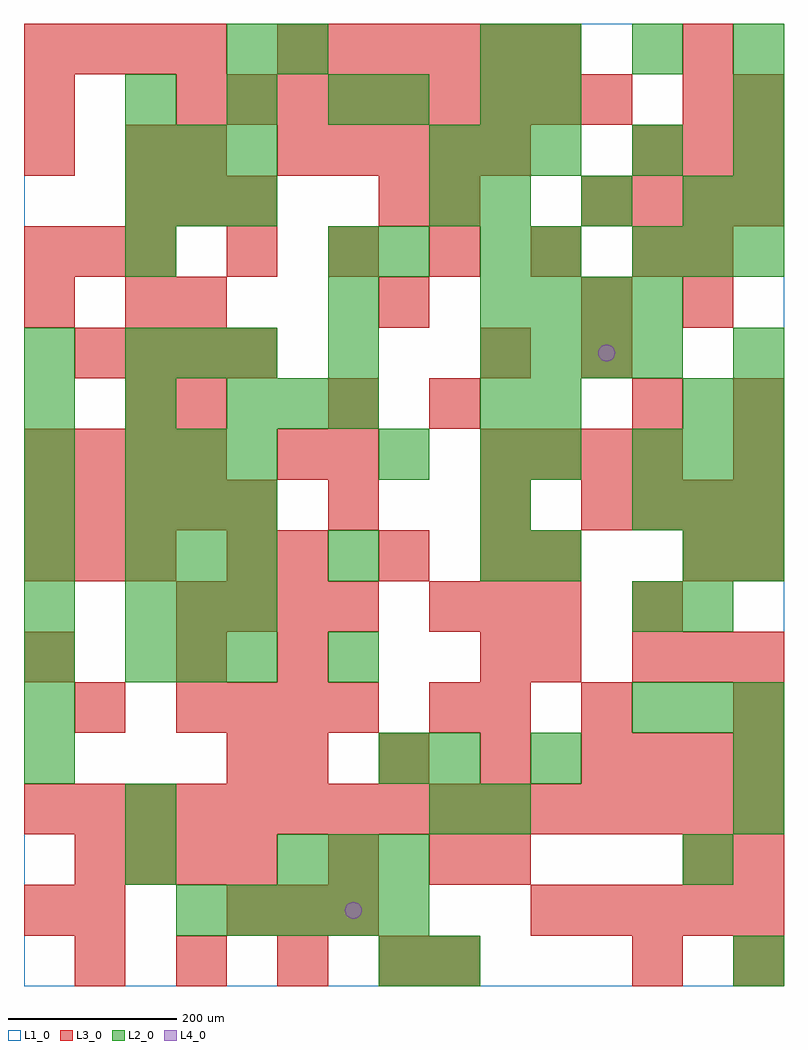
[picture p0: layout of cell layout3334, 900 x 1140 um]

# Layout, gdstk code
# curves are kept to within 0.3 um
import gdstk
lib = gdstk.Library(unit=1e-6, precision=1e-09)
def R(c, l, rs):  # rectangles x0, y0, x1, y1
    for r in rs: c.add(gdstk.rectangle(r[:2], r[2:], *l))
def A(c, l, x, y, w, h, nx, ny, dx, dy):  # array of equal rectangles
    R(c, l, [(x+i*dx, y+j*dy, x+i*dx+w, y+j*dy+h) for i in range(nx) for j in range(ny)])
def P(c, l, *ps):  # polygons
    for p in ps: c.add(gdstk.Polygon(p, *l))
L1_0 = (1, 0)
L2_0 = (2, 0)
L3_0 = (3, 0)
L4_0 = (4, 0)

layout3334 = lib.new_cell('layout3334')
R(layout3334, L1_0, [(0,0,900,1140)])
A(layout3334, L2_0, 180, 60, 60, 60, 5, 1, 60, 0)
A(layout3334, L2_0, 300, 120, 60, 60, 3, 1, 60, 0)
A(layout3334, L2_0, 0, 240, 60, 60, 1, 7, 0, 60)
A(layout3334, L2_0, 720, 300, 60, 60, 3, 2, 60, 240)
A(layout3334, L2_0, 120, 360, 60, 60, 3, 5, 60, 60)
A(layout3334, L2_0, 540, 480, 60, 60, 1, 4, 0, 60)
A(layout3334, L2_0, 720, 600, 60, 60, 3, 2, 60, 240)
A(layout3334, L2_0, 0, 660, 60, 60, 3, 1, 120, 0)
A(layout3334, L2_0, 360, 660, 60, 60, 1, 4, 0, 60)
A(layout3334, L2_0, 600, 660, 60, 60, 1, 3, 0, 180)
A(layout3334, L2_0, 120, 720, 60, 60, 3, 2, 60, 180)
A(layout3334, L2_0, 540, 720, 60, 60, 4, 2, 60, 60)
A(layout3334, L2_0, 540, 900, 60, 60, 3, 1, 120, 0)
A(layout3334, L2_0, 840, 900, 60, 60, 1, 3, 0, 60)
A(layout3334, L2_0, 120, 960, 60, 60, 3, 1, 60, 0)
A(layout3334, L2_0, 480, 960, 60, 60, 3, 1, 60, 0)
A(layout3334, L2_0, 120, 1020, 60, 60, 3, 1, 120, 0)
A(layout3334, L2_0, 600, 1080, 60, 60, 3, 1, 120, 0)
R(layout3334, L2_0, [(420,0,480,60), (480,0,540,60), (840,0,900,60), (120,120,180,180), (780,120,840,180), (120,180,180,240), (480,180,540,240), (540,180,600,240), (840,180,900,240), (420,240,480,300), (480,240,540,300), (600,240,660,300), (840,240,900,300), (360,360,420,420), (720,420,780,480), (780,420,840,480), (360,480,420,540), (600,480,660,540), (780,480,840,540), (840,480,900,540), (420,600,480,660), (600,600,660,660), (300,660,360,720), (780,660,840,720), (840,660,900,720), (0,720,60,780), (840,720,900,780), (120,840,180,900), (420,840,480,900), (540,840,600,900), (480,900,540,960), (720,960,780,1020), (420,1020,480,1080), (540,1020,600,1080), (240,1080,300,1140), (300,1080,360,1140), (540,1080,600,1140)])
A(layout3334, L3_0, 60, 0, 60, 60, 4, 1, 120, 0)
A(layout3334, L3_0, 240, 60, 60, 60, 3, 1, 60, 0)
A(layout3334, L3_0, 600, 60, 60, 60, 5, 1, 60, 0)
A(layout3334, L3_0, 60, 120, 60, 60, 4, 2, 60, 600)
A(layout3334, L3_0, 840, 120, 60, 60, 1, 3, 0, 180)
A(layout3334, L3_0, 0, 180, 60, 60, 15, 1, 60, 0)
A(layout3334, L3_0, 300, 240, 60, 60, 4, 1, 120, 0)
A(layout3334, L3_0, 720, 240, 60, 60, 3, 2, 60, 120)
A(layout3334, L3_0, 180, 300, 60, 60, 4, 2, 60, 120)
A(layout3334, L3_0, 180, 360, 60, 60, 1, 3, 0, 300)
A(layout3334, L3_0, 540, 360, 60, 60, 1, 3, 0, 180)
A(layout3334, L3_0, 480, 420, 60, 60, 3, 1, 60, 0)
A(layout3334, L3_0, 0, 480, 60, 60, 3, 2, 60, 360)
A(layout3334, L3_0, 300, 480, 60, 60, 3, 1, 120, 0)
A(layout3334, L3_0, 0, 540, 60, 60, 5, 1, 60, 0)
A(layout3334, L3_0, 360, 540, 60, 60, 1, 3, 0, 60)
A(layout3334, L3_0, 660, 540, 60, 60, 4, 2, 60, 360)
A(layout3334, L3_0, 0, 600, 60, 60, 4, 2, 60, 480)
A(layout3334, L3_0, 540, 600, 60, 60, 4, 1, 60, 0)
A(layout3334, L3_0, 180, 780, 60, 60, 3, 1, 240, 0)
A(layout3334, L3_0, 240, 840, 60, 60, 5, 1, 120, 0)
A(layout3334, L3_0, 120, 900, 60, 60, 3, 1, 60, 0)
A(layout3334, L3_0, 300, 960, 60, 60, 5, 1, 60, 0)
A(layout3334, L3_0, 720, 960, 60, 60, 3, 1, 60, 0)
A(layout3334, L3_0, 180, 1020, 60, 60, 9, 1, 60, 0)
A(layout3334, L3_0, 300, 1080, 60, 60, 6, 1, 60, 0)
R(layout3334, L3_0, [(480,0,540,60), (720,0,780,60), (840,0,900,60), (0,60,60,120), (60,60,120,120), (360,120,420,180), (480,120,540,180), (540,120,600,180), (780,120,840,180), (240,240,300,300), (60,300,120,360), (480,300,540,360), (540,300,600,360), (660,300,720,360), (0,360,60,420), (300,360,360,420), (600,360,660,420), (720,420,780,480), (240,480,300,540), (600,480,660,540), (780,480,840,540), (300,600,360,660), (840,600,900,660), (120,660,180,720), (480,660,540,720), (720,660,780,720), (840,660,900,720), (660,720,720,780), (0,780,60,840), (120,780,180,840), (780,780,840,840), (780,840,840,900), (420,900,480,960), (480,900,540,960), (0,960,60,1020), (120,960,180,1020), (0,1020,60,1080), (780,1020,840,1080), (840,1020,900,1080), (780,1080,840,1140)])
P(layout3334, L4_0, [(400,90),(399.239,93.827),(397.071,97.071),(393.827,99.239),(390,100),(386.173,99.239),(382.929,97.071),(380.761,93.827),(380,90),(380.761,86.173),(382.929,82.929),(386.173,80.761),(390,80),(393.827,80.761),(397.071,82.929),(399.239,86.173)],
  [(700,750),(699.239,753.827),(697.071,757.071),(693.827,759.239),(690,760),(686.173,759.239),(682.929,757.071),(680.761,753.827),(680,750),(680.761,746.173),(682.929,742.929),(686.173,740.761),(690,740),(693.827,740.761),(697.071,742.929),(699.239,746.173)])

lib.write_gds('layout3334.gds')
